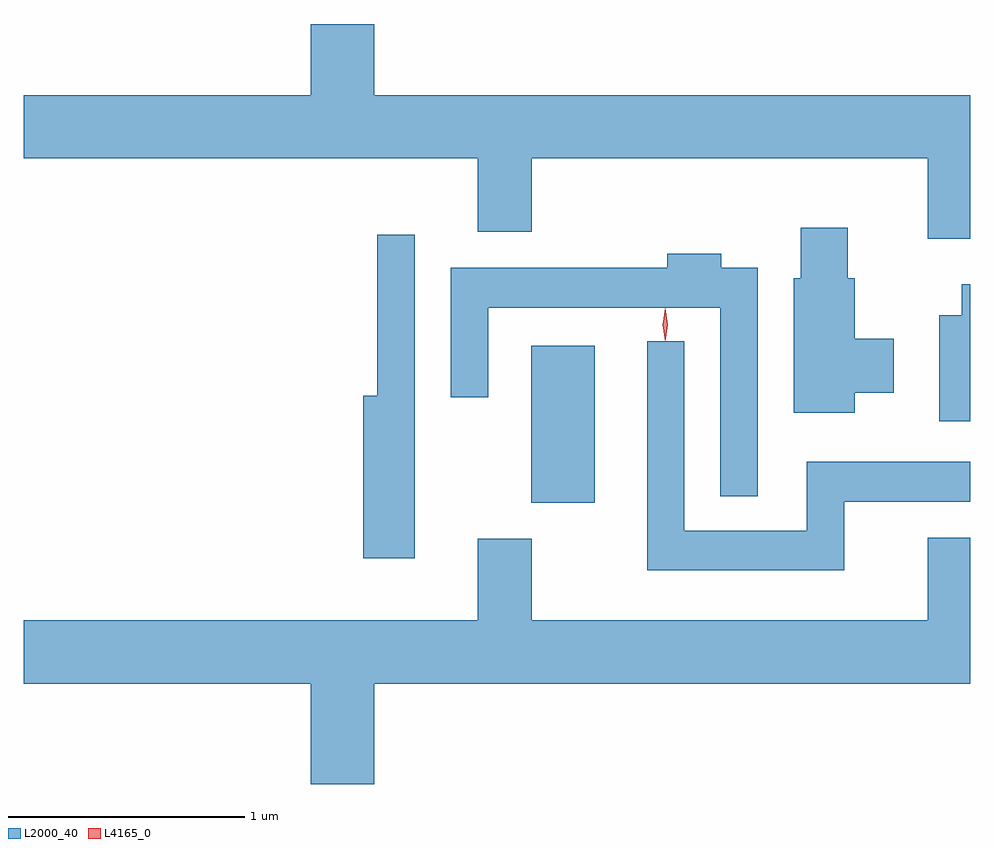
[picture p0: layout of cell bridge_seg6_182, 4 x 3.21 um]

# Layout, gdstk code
import gdstk
lib = gdstk.Library(unit=1e-6, precision=1e-09)
def R(c, l, rs):  # rectangles x0, y0, x1, y1
    for r in rs: c.add(gdstk.rectangle(r[:2], r[2:], *l))
def P(c, l, *ps):  # polygons
    for p in ps: c.add(gdstk.Polygon(p, *l))
L2000_40 = (2000, 40)
L4165_0 = (4165, 0)

bridge_seg6_182 = lib.new_cell('bridge_seg6_182')
R(bridge_seg6_182, L2000_40, [(1095.126,1568.561,1095.394,1569.224)])
P(bridge_seg6_182, L2000_40, [(1096.982,1570.284),(1094.464,1570.284),(1094.464,1570.584),(1094.196,1570.584),(1094.196,1570.284),(1092.982,1570.284),(1092.982,1570.016),(1094.901,1570.016),(1094.901,1569.706),(1095.129,1569.706),(1095.129,1570.016),(1096.801,1570.016),(1096.801,1569.676),(1096.982,1569.676)],
  [(1096.494,1569.026),(1096.659,1569.026),(1096.659,1569.254),(1096.494,1569.254),(1096.494,1569.509),(1096.464,1569.509),(1096.464,1569.724),(1096.266,1569.724),(1096.266,1569.509),(1096.236,1569.509),(1096.236,1568.941),(1096.494,1568.941)],
  [(1094.634,1569.693),(1094.476,1569.693),(1094.476,1569.014),(1094.416,1569.014),(1094.416,1568.326),(1094.634,1568.326)],
  [(1096.084,1569.554),(1095.929,1569.554),(1095.929,1569.614),(1095.701,1569.614),(1095.701,1569.554),(1094.786,1569.554),(1094.786,1569.008),(1094.944,1569.008),(1094.944,1569.386),(1095.926,1569.386),(1095.926,1568.588),(1096.084,1568.588)],
  [(1096.982,1569.484),(1096.946,1569.484),(1096.946,1569.354),(1096.851,1569.354),(1096.851,1568.906),(1096.982,1568.906)],
  [(1096.449,1568.566),(1096.982,1568.566),(1096.982,1568.734),(1096.291,1568.734),(1096.291,1568.444),(1095.774,1568.444),(1095.774,1569.243),(1095.616,1569.243),(1095.616,1568.276),(1096.449,1568.276)],
  [(1094.464,1567.796),(1096.982,1567.796),(1096.982,1568.414),(1096.801,1568.414),(1096.801,1568.064),(1095.129,1568.064),(1095.129,1568.409),(1094.901,1568.409),(1094.901,1568.064),(1092.982,1568.064),(1092.982,1567.796),(1094.196,1567.796),(1094.196,1567.373),(1094.464,1567.373)])
P(bridge_seg6_182, L4165_0, [(1095.693,1569.243),(1095.692,1569.244),(1095.683,1569.313),(1095.692,1569.382),(1095.693,1569.383),(1095.693,1569.382),(1095.703,1569.313),(1095.693,1569.244)])

lib.write_gds('bridge_seg6_182.gds')
